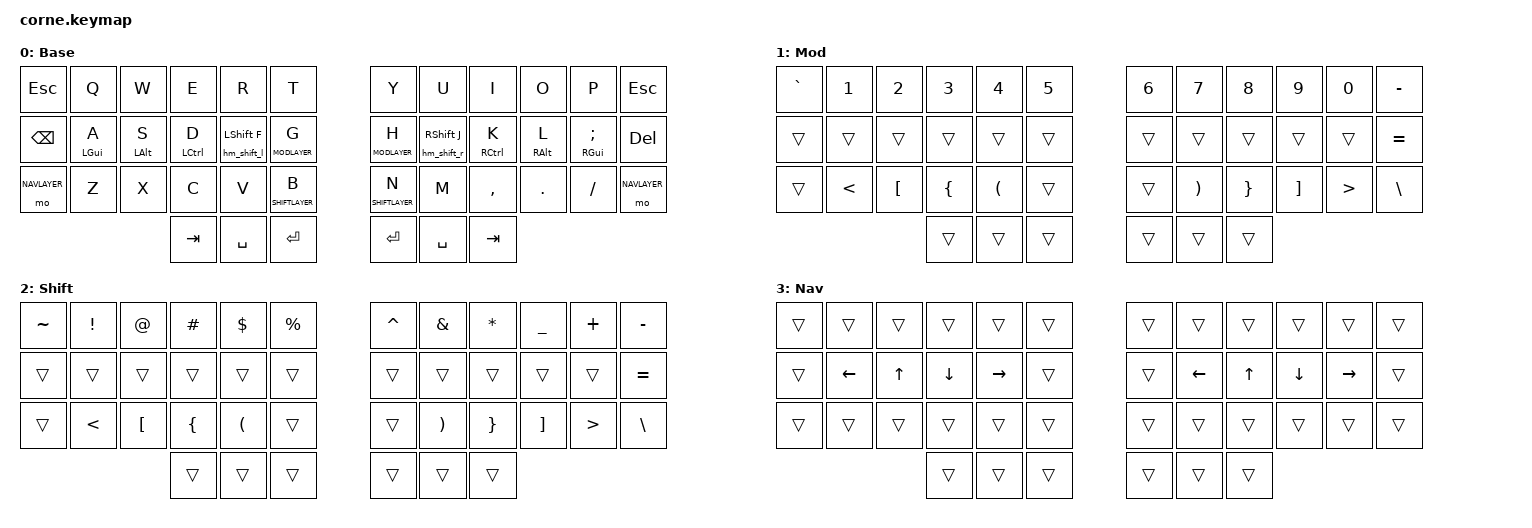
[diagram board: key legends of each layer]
/*
 * Copyright (c) 2020 The ZMK Contributors
 *
 * SPDX-License-Identifier: MIT
 */


#define BASE 0
#define MODLAYER 1
#define SHIFTLAYER 2
#define NAVLAYER 3

#include <behaviors.dtsi>
#include <dt-bindings/zmk/keys.h>
#include <dt-bindings/zmk/bt.h>
#include <dt-bindings/zmk/rgb.h>
#include <dt-bindings/zmk/ext_power.h>

#include "includes/custom_keycodes.dtsi"
#include "includes/settings.dtsi"
#include "includes/behaviours_homerow_mods.dtsi"

/ {
        keymap {
                compatible = "zmk,keymap";

Base_layer {
      label = "Base";
      bindings = <
&kp ESC   &kp Q          &kp W         &kp E         &kp R                &kp T            &kp Y            &kp U                &kp I         &kp O         &kp P           &kp ESC
&kp BSPC  &hm_l LGUI A  &hm_l LALT S  &hm_l LCTRL D  &hm_shift_l LSHFT F  &lt MODLAYER G   &lt MODLAYER H   &hm_shift_r RSHFT J  &hm_r RCTRL K &hm_r RALT L  &hm_r RGUI SEMI &kp DEL 
&mo NAVLAYER     &kp Z          &kp X         &kp C         &kp V                &lt SHIFTLAYER B &lt SHIFTLAYER N &kp M                &kp COMMA     &kp DOT       &kp SLASH       &mo NAVLAYER
                                       &kp TAB       &kp SPACE            &kp ENTER        &kp ENTER        &kp SPACE            &kp TAB
      >;
    };


Mod_layer {
      label = "Mod";
      bindings = <
&kp GRAVE &kp N1 &kp N2   &kp N3   &kp N4   &kp N5 &kp N6 &kp N7   &kp N8   &kp N9   &kp N0 &kp MINUS 
&trans    &trans &trans   &trans   &trans   &trans &trans &trans   &trans   &trans   &trans &kp EQUAL 
&trans    &kp LT &kp LBKT &kp LBRC &kp LPAR &trans &trans &kp RPAR &kp RBRC &kp RBKT &kp GT &kp BSLH 
                     &trans &trans &trans &trans &trans &trans 
      >;
    };



Shift_layer {
      label = "Shift";
      bindings = <
&kp TILDE &kp EXCL &kp AT   &kp POUND   &kp DOLLAR   &kp PERCENT &kp CARET &kp AMPS   &kp STAR   &kp UNDER   &kp PLUS &kp MINUS 
&trans    &trans &trans   &trans   &trans   &trans &trans &trans   &trans   &trans   &trans &kp EQUAL 
&trans    &kp LT &kp LBKT &kp LBRC &kp LPAR &trans &trans &kp RPAR &kp RBRC &kp RBKT &kp GT &kp BSLH 
                     &trans &trans &trans &trans &trans &trans 
      >;
    };



Nav_layer {
      label = "Nav";
      bindings = <
&trans &trans &trans &trans &trans &trans &trans &trans &trans &trans &trans &trans 
&trans &kp LEFT &kp UP &kp DOWN &kp RIGHT &trans &trans &kp LEFT &kp UP &kp DOWN &kp RIGHT &trans 
&trans &trans &trans &trans &trans &trans &trans &trans &trans &trans &trans &trans 
                     &trans &trans &trans &trans &trans &trans 
      >;
    };


  };
};
